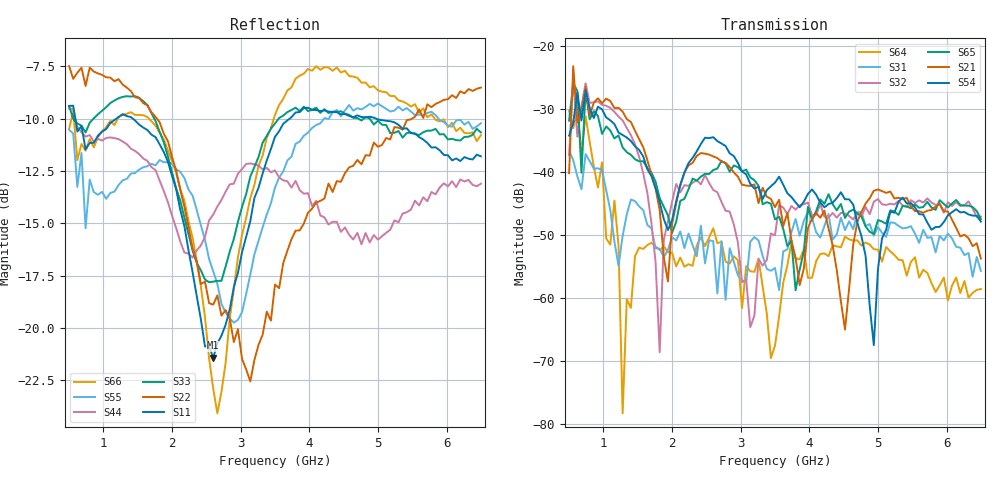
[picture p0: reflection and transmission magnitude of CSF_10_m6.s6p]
!Keysight Technologies,M9804A,MY58100912,A.14.10.03
!Date: Thursday, April 27, 2023 10:28:33
!Correction: S11(C  6-Port  )
!S12(C  6-Port  )
!S13(C  6-Port  )
!S14(C  6-Port  )
!S15(C  6-Port  )
!S16(C  6-Port  )
!S21(C  6-Port  )
!S22(C  6-Port  )
!S23(C  6-Port  )
!S24(C  6-Port  )
!S25(C  6-Port  )
!S26(C  6-Port  )
!S31(C  6-Port  )
!S32(C  6-Port  )
!S33(C  6-Port  )
!S34(C  6-Port  )
!S35(C  6-Port  )
!S36(C  6-Port  )
!S41(C  6-Port  )
!S42(C  6-Port  )
!S43(C  6-Port  )
!S44(C  6-Port  )
!S45(C  6-Port  )
!S46(C  6-Port  )
!S51(C  6-Port  )
!S52(C  6-Port  )
!S53(C  6-Port  )
!S54(C  6-Port  )
!S55(C  6-Port  )
!S56(C  6-Port  )
!S61(C  6-Port  )
!S62(C  6-Port  )
!S63(C  6-Port  )
!S64(C  6-Port  )
!S65(C  6-Port  )
!S66(C  6-Port  )
!S6P File: Measurement: :
# Hz S  RI  R 50
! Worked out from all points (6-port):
!   101 points, 500 MHz to 6.5 GHz, reference 50 ohm
!   strongest paths, dB at 500 MHz, 2 GHz, 3.5 GHz, 5 GHz, 6.5 GHz:
!     S54: -34.3, -47.7, -41.7, -55.5, -47.9
!     S21: -40.2, -48.3, -45.6, -42.8, -53.8
!     S65: -31.9, -49.7, -47.6, -47.7, -47.5
!     S32: -37.3, -44.8, -50.1, -44.3, -47.1
!     S31: -36.6, -50.4, -55.3, -48.8, -55.7
!     S64: -30.4, -52.8, -67.6, -52.4, -58.6
!   lowest |S11| = -21.4 dB at 2.6 GHz (marker M1), VSWR 1.19, Z = 42.5 + j2.2 ohm
!   |S11| at or under -10 dB: 590 MHz to 1.188 GHz (597.6 MHz wide, 67.2 % of centre); 1.428 GHz to 3.713 GHz (2.285 GHz wide, 88.9 % of centre); 4.974 GHz to end of sweep
